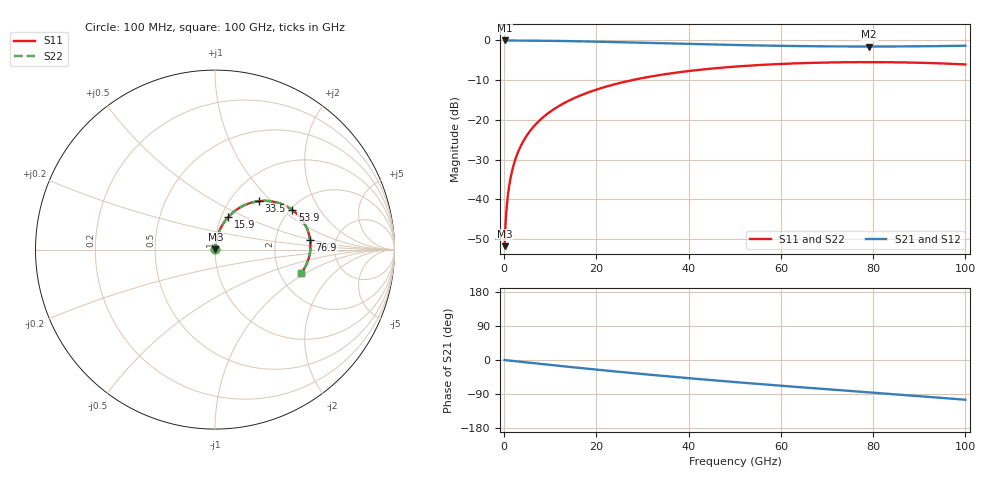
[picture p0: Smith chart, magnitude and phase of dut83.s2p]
! Touchstone file exported from HFSS 2026.1.0
!  File:  C:/ffzhzh/LocalFiles/Ansys_Project_Files/temp_train_RDL_83_1783498835_55944.aedt
!  Generated:  04:21:40 PM Jul  8, 2026
!  Design:  RDL
!  Project:  temp_train_RDL_83_1783498835_55944
! Variables:
!  h_bsmrdl = 2um
!  h_ox = 20um
!  h_rdl = 5um
!  h_sub = 80um
!  h_tmrdl = 2.55um
!  h_tsv = 80um
!  h_via = 3um
!  l_bsmrdl = 300um
!  l_sub = 737.07um
!  l_tmrdl = 337.07um
!  m_sub = 200um
!  pitch = 51.23um
!  r_tsv = 6um
!  s_tmrdl = 10um
!  w_bsmrdl = 18um
!  w_sub = 500um
!  w_tmrdl = 25.76um
!  x_tsv_center1 = 349.95um
!  x_tsv_center2 = 667.95um
!  x_tsv_center3 = 1030.78um
!  x_tsv_center4 = 1348.78um
!  x_tsv_center5 = 1711.61um
!  x_tsv_center6 = 2029.61um
# GHz S MA R 50.000000
! Terminal data exported
! Port[1] = TM_RDL1_1_T1
! Port[2] = TM_RDL1_1_T2
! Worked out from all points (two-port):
!   1000 points, 100 MHz to 100 GHz, reference 50 ohm
!   highest |S21| = -0.02 dB at 100 MHz (marker M1); lowest = -1.5 dB at 79.1 GHz (marker M2)
!   |S21| within 3 dB of the highest: start of sweep to end of sweep
!   lowest |S11| = -51.7 dB at 100 MHz (marker M3), VSWR 1.01, Z = 50.2 + j0.146 ohm
!   |S11| at or under -10 dB: start of sweep to 27.75 GHz
!   |S22| runs from -51.7 to -5.5 dB; largest |S21 - S12| = 5.4e-15
!   S11 on the Smith chart (normalised r, x): 100 MHz: 1.00, +0.00; 15.9 GHz: 1.08, +0.41; 33.5 GHz: 1.35, +0.84; 53.9 GHz: 2.06, +1.19; 76.9 GHz: 3.20, +0.49; 100 GHz: 2.62, -0.91
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0.1  0.002586 34.2  0.9979 -0.1  0.9979 -0.1  0.002586 34.2
! Gamma 0 0 0 0
! Port Impedance 50 0 50 0
0.9  0.01236 76.0  0.9972 -1.2  0.9972 -1.2  0.01236 76.0
1.2  0.01615 78.3  0.9971 -1.6  0.9971 -1.6  0.01615 78.3
1.5  0.01996 79.7  0.9969 -2.0  0.9969 -2.0  0.01996 79.7
2  0.02636 80.9  0.9967 -2.6  0.9967 -2.6  0.02636 80.9
2.5  0.03278 81.4  0.9964 -3.3  0.9964 -3.3  0.03278 81.4
4  0.05201 81.1  0.9954 -5.2  0.9954 -5.2  0.05201 81.1
6  0.07743 79.4  0.9933 -7.8  0.9933 -7.8  0.07743 79.4
8.6  0.1099 76.5  0.9896 -11.2  0.9896 -11.2  0.1099 76.5
11.9  0.1498 72.6  0.9835 -15.4  0.9835 -15.4  0.1498 72.6
15.9  0.196 67.8  0.9745 -20.4  0.9745 -20.4  0.196 67.8
16.8  0.206 66.7  0.9722 -21.5  0.9722 -21.5  0.206 66.8
24.2  0.283 58.1  0.9516 -30.4  0.9516 -30.4  0.283 58.1
33.4  0.364 47.9  0.923 -40.9  0.923 -40.9  0.364 47.9
33.5  0.3648 47.7  0.9227 -41.0  0.9227 -41.0  0.3648 47.8
50.1  0.4682 30.7  0.8748 -58.3  0.8748 -58.3  0.4682 30.8
53.9  0.4845 27.0  0.8659 -62.0  0.8659 -62.0  0.4846 27.1
66.7  0.5216 15.1  0.8443 -74.1  0.8443 -74.1  0.5216 15.2
76.9  0.5326 5.9  0.8374 -83.4  0.8374 -83.4  0.5326 6.0
79.1  0.5329 4.0  0.8372 -85.4  0.8372 -85.4  0.5329 4.0
83.4  0.5313 0.1  0.838 -89.4  0.838 -89.4  0.5314 0.2
100  0.4982 -15.2  0.8568 -104.9  0.8568 -104.9  0.4982 -15.0
